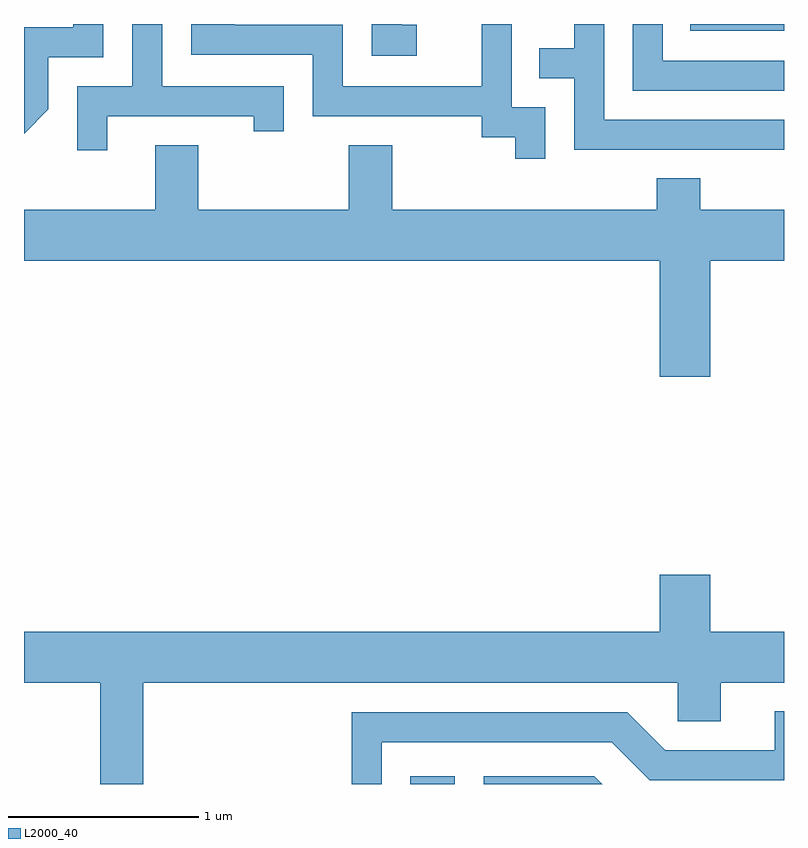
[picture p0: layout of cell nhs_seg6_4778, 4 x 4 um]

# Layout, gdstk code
import gdstk
lib = gdstk.Library(unit=1e-6, precision=1e-09)
def R(c, l, rs):  # rectangles x0, y0, x1, y1
    for r in rs: c.add(gdstk.rectangle(r[:2], r[2:], *l))
def P(c, l, *ps):  # polygons
    for p in ps: c.add(gdstk.Polygon(p, *l))
L2000_40 = (2000, 40)

nhs_seg6_4778 = lib.new_cell('nhs_seg6_4778')
R(nhs_seg6_4778, L2000_40, [(333.643,1556.162,333.879,1556.204), (335.118,1560.126,335.611,1560.162)])
P(nhs_seg6_4778, L2000_40, [(331.739,1559.714),(331.739,1559.986),(332.029,1559.986),(332.029,1560.162),(331.871,1560.162),(331.871,1560.144),(331.611,1560.144),(331.611,1559.585)],
  [(333.678,1560.159),(333.599,1560.159),(333.599,1560.162),(333.441,1560.162),(333.441,1559.996),(333.678,1559.996)],
  [(332.049,1559.676),(332.821,1559.676),(332.821,1559.598),(332.979,1559.598),(332.979,1559.834),(332.339,1559.834),(332.339,1560.162),(332.181,1560.162),(332.181,1559.834),(331.891,1559.834),(331.891,1559.498),(332.049,1559.498)],
  [(334.354,1559.724),(334.179,1559.724),(334.179,1560.162),(334.021,1560.162),(334.021,1559.834),(333.289,1559.834),(333.289,1560.159),(332.719,1560.159),(332.719,1560.162),(332.491,1560.162),(332.491,1560.001),(333.131,1560.001),(333.131,1559.676),(334.021,1559.676),(334.021,1559.566),(334.196,1559.566),(334.196,1559.453),(334.354,1559.453)],
  [(335.611,1559.969),(334.974,1559.969),(334.974,1560.162),(334.816,1560.162),(334.816,1559.811),(335.611,1559.811)],
  [(335.611,1559.659),(334.664,1559.659),(334.664,1560.162),(334.506,1560.162),(334.506,1560.034),(334.323,1560.034),(334.323,1559.876),(334.506,1559.876),(334.506,1559.501),(335.611,1559.501)],
  [(335.224,1558.916),(335.611,1558.916),(335.611,1559.184),(335.169,1559.184),(335.169,1559.349),(334.941,1559.349),(334.941,1559.184),(333.549,1559.184),(333.549,1559.524),(333.321,1559.524),(333.321,1559.184),(332.529,1559.184),(332.529,1559.524),(332.301,1559.524),(332.301,1559.184),(331.611,1559.184),(331.611,1558.916),(334.956,1558.916),(334.956,1558.306),(335.224,1558.306)],
  [(332.239,1556.696),(335.051,1556.696),(335.051,1556.491),(335.279,1556.491),(335.279,1556.696),(335.611,1556.696),(335.611,1556.964),(335.224,1556.964),(335.224,1557.264),(334.956,1557.264),(334.956,1556.964),(331.611,1556.964),(331.611,1556.696),(332.011,1556.696),(332.011,1556.162),(332.239,1556.162)],
  [(333.494,1556.381),(334.704,1556.381),(334.904,1556.181),(335.611,1556.181),(335.611,1556.544),(335.561,1556.544),(335.561,1556.339),(334.987,1556.339),(334.787,1556.539),(333.336,1556.539),(333.336,1556.162),(333.494,1556.162)],
  [(334.612,1556.204),(334.031,1556.204),(334.031,1556.162),(334.654,1556.162)])

lib.write_gds('nhs_seg6_4778.gds')
